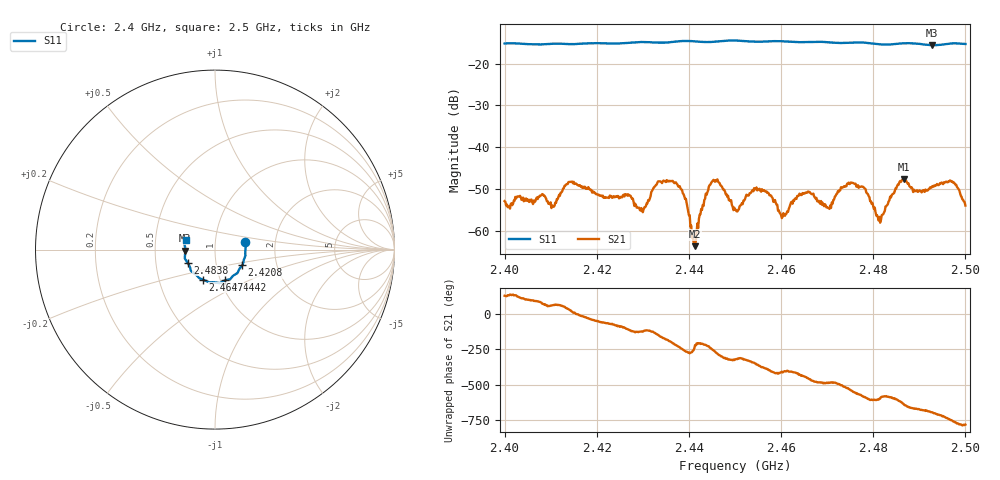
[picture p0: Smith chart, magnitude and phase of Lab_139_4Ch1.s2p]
# Hz S RI R 50
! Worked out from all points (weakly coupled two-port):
!   601 points, 2.4 GHz to 2.5 GHz, reference 50 ohm
!   highest |S21| = -47.60 dB at 2.4867 GHz (marker M1); lowest = -63.6 dB at 2.4413 GHz (marker M2)
!   lowest |S11| = -15.6 dB at 2.4928 GHz (marker M3), VSWR 1.40, Z = 35.8 - j0.37 ohm
!   |S11| at or under -10 dB: start of sweep to end of sweep
!   S12 and S22 are empty: the file has one direction only
!   S11 on the Smith chart (normalised r, x): 2.4 GHz: 1.40, +0.12; 2.4208 GHz: 1.33, -0.24; 2.4442 GHz: 1.05, -0.37; 2.4647 GHz: 0.83, -0.29; 2.4838 GHz: 0.73, -0.11; 2.5 GHz: 0.72, +0.08
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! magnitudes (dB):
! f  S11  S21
! 2.4 GHz  -15.2  -52.8
! 2.4167 GHz  -15.3  -49.3
! 2.4208 GHz  -15.2  -51.6
! 2.4298 GHz  -14.9  -55.1
! 2.4333 GHz  -15.0  -48.1
! 2.438 GHz  -14.7  -49.3
! 2.4413 GHz  -14.7  -63.6
! 2.4442 GHz  -14.9  -50.3
! 2.4463 GHz  -14.7  -48.2
! 2.45 GHz  -14.5  -54.9
! 2.4548 GHz  -14.8  -50.3
! 2.4605 GHz  -14.7  -55.7
! 2.4647 GHz  -14.9  -50.9
! 2.4667 GHz  -14.8  -51.2
! 2.4703 GHz  -14.9  -54.5
! 2.4757 GHz  -15.0  -48.5
! 2.4812 GHz  -15.4  -57.4
! 2.4833 GHz  -15.5  -52.9
! 2.4838 GHz  -15.4  -52.0
! 2.4867 GHz  -15.2  -47.6
! 2.4928 GHz  -15.6  -49.2
! 2.5 GHz  -15.3  -53.9
